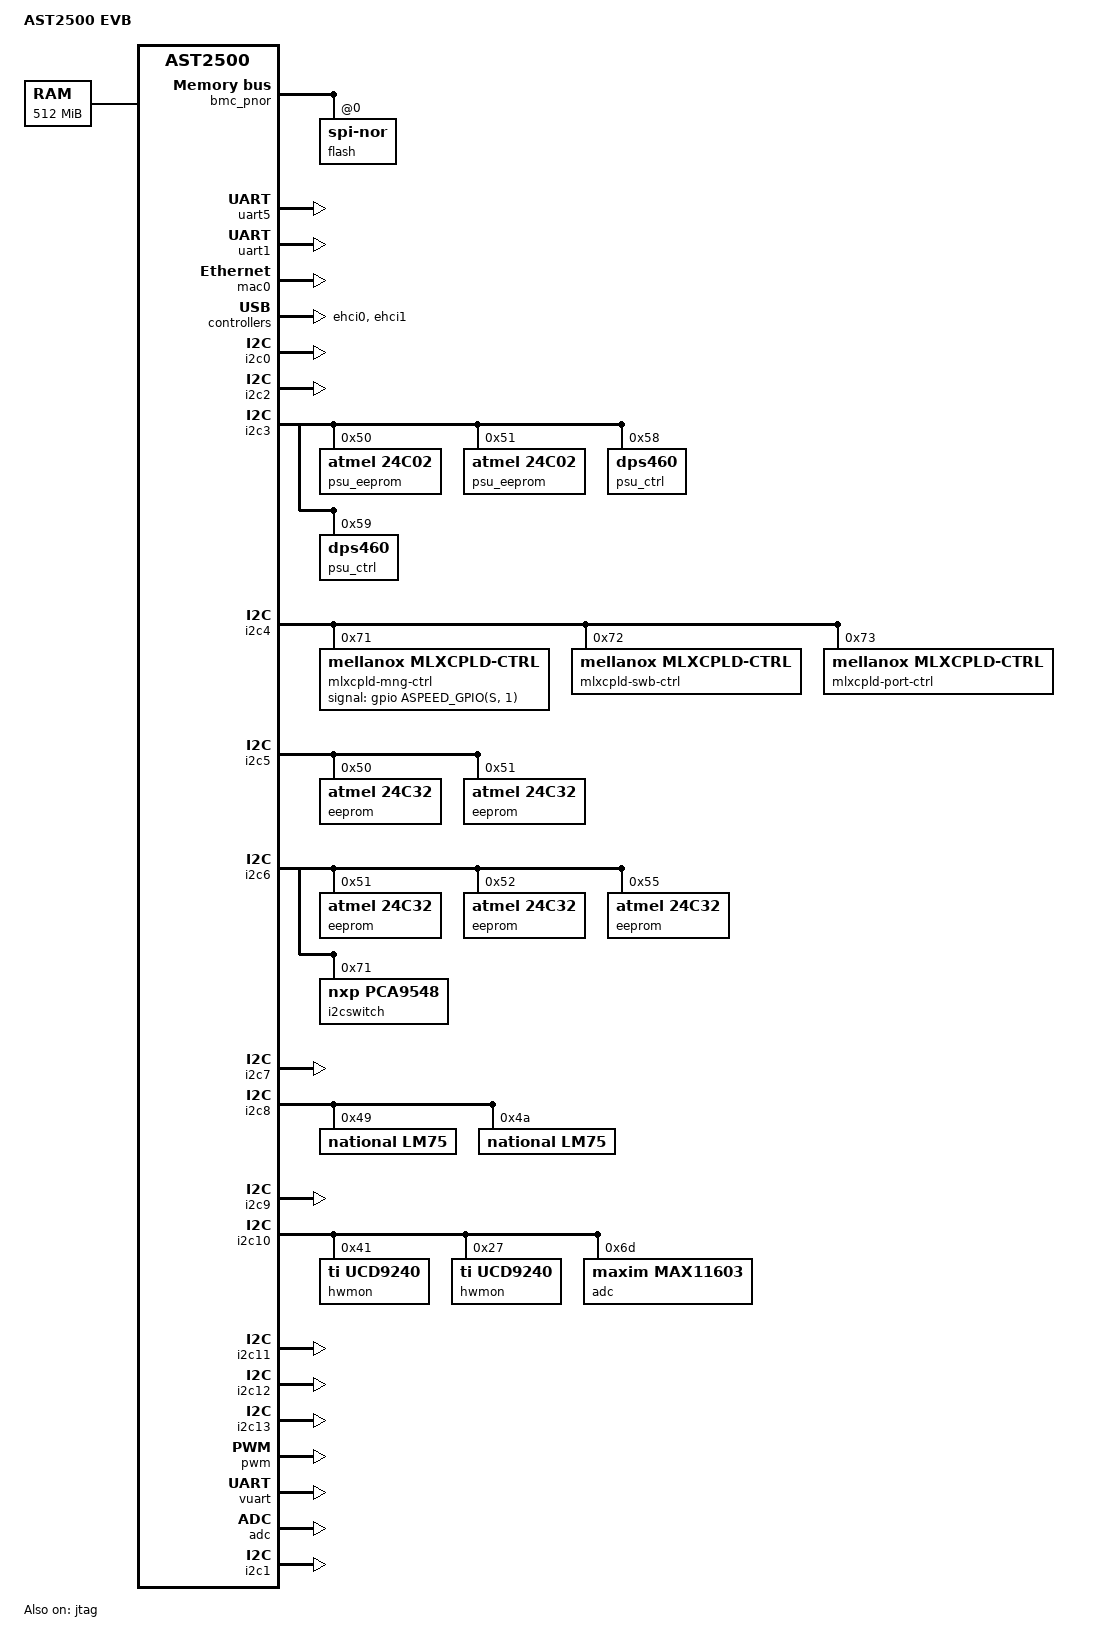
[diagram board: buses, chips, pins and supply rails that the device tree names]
/dts-v1/;

#include <dt-bindings/thermal/thermal.h>
#include <dt-bindings/pwm/pwm.h>
#include <dt-bindings/gpio/gpio.h>
#include <dt-bindings/interrupt-controller/irq.h>
#include <dt-bindings/gpio/aspeed-gpio.h>
#include "aspeed-g5-mlx.dtsi"

/ {
	model = "AST2500 EVB";
	compatible = "mellanox,mlx-bmc", "aspeed,ast2500";

	aliases {
		serial0 = &uart1;
		serial4 = &uart5;
        };

	chosen {
		stdout-path = &uart5;
		bootargs = "console=ttyS4,115200n8 earlyprintk";
	};

	memory {
		reg = <0x80000000 0x20000000>;	/* 512MiB SDRAM DDR4 @ 0x8000_0000 */
	};

	ahb {
		bmc_pnor: fmc@1e620000 {
			reg = < 0x1e620000 0x94
				0x20000000 0x02000000 >;
			#address-cells = <1>;
			#size-cells = <0>;
			compatible = "aspeed,ast2500-fmc";
			flash@0 {
				reg = < 0 >;
				compatible = "jedec,spi-nor" ;
#include "aspeed-bmc-mlx-flash-layout.dtsi"
			};
		};
	};
};

&uart5 {
	status = "okay";
};

&uart1 {
	status = "okay";
};

&mac0 {
	status = "okay";
	use-ncsi;
	no-hw-checksum;
};

&ehci0 {
	status = "okay";
};

&ehci1 {
	status = "okay";
};

&i2c0 {
	status = "okay";
};

&i2c2 {
	status = "okay";
};

&i2c3 {
	status = "okay";

	psu_eeprom@50 {
		compatible = "atmel,24c02";
		reg = <0x50>;
	};

	psu_eeprom@51 {
		compatible = "atmel,24c02";
		reg = <0x51>;
	};

	psu_ctrl@58 {
		compatible = "dps460";
		reg = <0x58>;
	};

	psu_ctrl@59 {
		compatible = "dps460";
		reg = <0x59>;
	};
};

&i2c4 {
	status = "okay";

	mlxcpld-mng-ctrl@71 {
		#address-cells = <1>;
		#size-cells = <0>;
		compatible = "mellanox,mlxcpld-ctrl";
		reg = <0x71>;
		top_aggr_offset = <0x3a>;
		top_aggr_mask = <0x48>;
		top_aggr_irq = <174>;
		interrupt-parent = <&gpio>;
		gpios-signal = <&gpio ASPEED_GPIO(S, 1)>;

		psu {
			aggr_mask = <0x08>;
			reg = <0x58>;
			mask = <0x03>;

			psu1_eeprom {
				type = "24c02";
				bus = <0x03>;
				addr = <0x51>;
			};

			psu2_eeprom {
				type = "24c02";
				bus = <0x03>;
				addr = <0x50>;
			};
		};

		pwr {
			aggr_mask = <0x08>;
			reg = <0x64>;
			mask = <0x03>;

			psu1_contoller {
				type = "dps460";
				bus = <0x03>;
				addr = <0x59>;
			};

			psu2_contoller {
				type = "dps460";
				bus = <0x03>;
				addr = <0x58>;
			};
		};

		fan {
			aggr_mask = <0x40>;
			reg = <0x88>;
			mask = <0x0f>;

			fan1_eeprom {
				type = "24c32";
				bus = <0x0e>;
				addr = <0x50>;
			};

			fan2_eeprom {
				type = "24c32";
				bus = <0x0f>;
				addr = <0x50>;
			};

			fan3_eeprom {
				type = "24c32";
				bus = <0x10>;
				addr = <0x50>;
			};

			fan4_eeprom {
				type = "24c32";
				bus = <0x11>;
				addr = <0x50>;
			};
		};

		mux {
			#address-cells = <1>;
			#size-cells = <0>;
			mux1 {
				label = "uart_sel";
				reg = <0x30>;
				mask = <0xef>;
				bit = <0x00>;
			};
			mux2 {
				label = "spi_burn_bios_ci";
				reg = <0x32>;
				mask = <0xfe>;
				bit = <0x00>;
			};
			mux3 {
				label = "spi_burn_ncsi";
				reg = <0x32>;
				mask = <0xfd>;
				bit = <0x00>;
			};
			mux4 {
				label = "bmc_uart_en";
				reg = <0x32>;
				mask = <0xdf>;
				bit = <0x00>;
			};
			mux5 {
				label = "safe_bios1";
				reg = <0x35>;
				mask = <0xfb>;
				bit = <0x01>;
			};
			mux6 {
				label = "safe_bios2";
				reg = <0x35>;
				mask = <0xf7>;
				bit = <0x01>;
			};
			mux7 {
				label = "safe_bios_disable";
				reg = <0x35>;
				mask = <0xdf>;
				bit = <0x01>;
			};
		};

		led {
			#address-cells = <1>;
			#size-cells = <0>;
			led1 {
				label = "status:green";
				reg = <0x20>;
				mask = <0xf0>;
			};
			led2 {
				label = "status:red";
				reg = <0x20>;
				mask = <0xf0>;
			};
			led3 {
				label = "status:amber";
				reg = <0x20>;
				mask = <0xf0>;
			};
			led4 {
				label = "fan1:green";
				reg = <0x21>;
				mask = <0xf0>;
			};
			led5 {
				label = "fan1:red";
				reg = <0x21>;
				mask = <0xf0>;
			};
			led6 {
				label = "fan2:green";
				reg = <0x21>;
				mask = <0x0f>;
			};
			led7 {
				label = "fan2:red";
				reg = <0x21>;
				mask = <0x0f>;
			};
			led8 {
				label = "fan3:green";
				reg = <0x22>;
				mask = <0xf0>;
			};
			led9 {
				label = "fan3:red";
				reg = <0x22>;
				mask = <0xf0>;
			};
			led10 {
				label = "fan4:green";
				reg = <0x22>;
				mask = <0x0f>;
			};
			led11 {
				label = "fan4:red";
				reg = <0x22>;
				mask = <0x0f>;
			};
		};

		reset {
			#address-cells = <1>;
			#size-cells = <0>;
			reset1 {
				label = "bmc_reset_soft";
				reg = <0x17>;
				mask = <0xfd>;
			};
			reset2 {
				label = "system_reset_hard";
				reg = <0x17>;
				mask = <0xfe>;
			};
			reset3 {
				label = "cpu_reset_soft";
				reg = <0x17>;
				mask = <0xf7>;
			};
			reset4 {
				label = "ps1_on";
				reg = <0x30>;
				mask = <0xfe>;
			};
			reset5 {
				label = "ps2_on";
				reg = <0x30>;
				mask = <0xfd>;
			};
			reset6 {
				label = "sys_power_cycle";
				reg = <0x30>;
				mask = <0xfb>;
			};
			reset7 {
				label = "mng_pg_ovrd";
				reg = <0x30>;
				mask = <0xf7>;
			};
			reset8 {
				label = "cpu_reset_hard";
				reg = <0x30>;
				mask = <0xdf>;
			};
		};

		cause {
			#address-cells = <1>;
			#size-cells = <0>;
			cause1 {
				label = "ac_power_cycle";
				reg = <0x1d>;
				mask = <0xfe>;
			};
			cause2 {
				label = "dc_power_cycle";
				reg = <0x1d>;
				mask = <0xfd>;
			};
			cause3 {
				label = "cpu_power_down";
				reg = <0x1d>;
				mask = <0xfb>;
			};
			cause4 {
				label = "cpu_reboot";
				reg = <0x1d>;
				mask = <0xf7>;
			};
			cause5 {
				label = "cpu_shutdown";
				reg = <0x1d>;
				mask = <0xef>;
			};
			cause6 {
				label = "cpu_watchdog";
				reg = <0x1d>;
				mask = <0xef>;
			};

			cause7 {
				label = "cpu_kernel_panic";
				reg = <0x1d>;
				mask = <0xef>;
			};
			cause8 {
				label = "bmc_warm_reset";
				reg = <0x71>;
				mask = <0xfe>;
			};
			cause9 {
				label = "bmc_upgrade";
				reg = <0x2e>;
				mask = <0xf7>;
			};
		};

		gpro {
			#address-cells = <1>;
			#size-cells = <0>;
			gpro1 {
				label = "version";
				reg = <0x01>;
				mask = <0xff>;
				bit = <0xff>;
			};
		};
	};

	mlxcpld-swb-ctrl@72 {
		#address-cells = <1>;
		#size-cells = <0>;
		compatible = "mellanox,mlxcpld-ctrl";
		reg = <0x72>;

		gpro {
			#address-cells = <1>;
			#size-cells = <0>;
			gpro1 {
				label = "version";
				reg = <0x01>;
				mask = <0xff>;
				bit = <0xff>;
			};
		};
		reset {
			#address-cells = <1>;
			#size-cells = <0>;

			reset1 {
				label = "asic_reset";
				reg = <0x19>;
				mask = <0xf7>;
			};
			reset2 {
				label = "phy_reset";
				reg = <0x19>;
				mask = <0xef>;
			};
		};

	};

	mlxcpld-port-ctrl@73 {
		#address-cells = <1>;
		#size-cells = <0>;
		compatible = "mellanox,mlxcpld-ctrl";
		reg = <0x73>;

		gpro {
			#address-cells = <1>;
			#size-cells = <0>;
			gpro1 {
				label = "version";
				reg = <0x01>;
				mask = <0xff>;
				bit = <0xff>;
			};
		};
	};
};

&i2c5 {
	status = "okay";

	eeprom@50 {
		compatible = "atmel,24c32";
		reg = <0x50>;
	};

	eeprom@51 {
		compatible = "atmel,24c32";
		reg = <0x51>;
	};
};

&i2c6 {
	status = "okay";

	eeprom@51 {
		compatible = "atmel,24c32";
		reg = <0x51>;
	};

	eeprom@52 {
		compatible = "atmel,24c32";
		reg = <0x52>;
	};

	eeprom@55 {
		compatible = "atmel,24c32";
		reg = <0x55>;
	};

	i2cswitch@71 {
		compatible = "nxp,pca9548";
		#address-cells = <1>;
		#size-cells = <0>;
		reg = <0x71>;
	};
};

&i2c7 {
	status = "okay";
};

&i2c8 {
	status = "okay";

	lm75@49 {
		compatible = "national,lm75";
		reg = <0x49>;
	};

	lm75@4a {
		compatible = "national,lm75";
		reg = <0x4a>;
	};
};

&i2c9 {
	status = "okay";
};

&i2c10 {
	status = "okay";

	hwmon@41 {
		compatible = "ti,ucd9240";
		reg = <0x41>;
	};

	hwmon@27 {
		compatible = "ti,ucd9240";
		reg = <0x27>;
	};

	adc@6d {
		compatible = "maxim,max11603";
		reg = <0x6d>;
		adc0: iio-device@0 {
			#io-channel-cells = <1>;
			io-channels = <&adc0 0>, <&adc0 1>, <&adc0 2>,
				      <&adc0 3>, <&adc0 4>, <&adc0 5>,
				      <&adc0 6>, <&adc0 7>;
		};
	};
};

&i2c11 {
	status = "okay";
};

&i2c12 {
	status = "okay";
};

&i2c13 {
	status = "okay";
};

&pwm {
	status = "okay";
};

&jtag {
	status = "okay";
};

&vuart {
	status = "okay";
};

&adc {
	status = "okay";
	#address-cells = <1>;
	#size-cells = <0>;
	adc1 {
		channel = <0>;
		min = <677>;
		max = <828>;
	};
	adc2 {
		channel = <2>;
		min = <684>;
		max = <836>;
	};
	adc3 {
		channel = <3>;
		min = <684>;
		max = <836>;
	};
	adc4 {
		channel = <4>;
		min = <676>;
		max = <826>;
	};
	adc5 {
		channel = <10>;
		min = <691>;
		max = <845>;
	};
	adc6 {
		channel = <11>;
		min = <640>;
		max = <782>;
	};
	adc7 {
		channel = <12>;
		min = <615>;
		max = <751>;
	};
	adc8 {
		channel = <13>;
		min = <587>;
		max = <719>;
	};
};

&i2c1 {
	status = "okay";
/*
	mlxsw_i2c@48 {
		compatible = "mellanox,mlxsw_minimal";
		reg = <0x48>;
	};
*/
};
